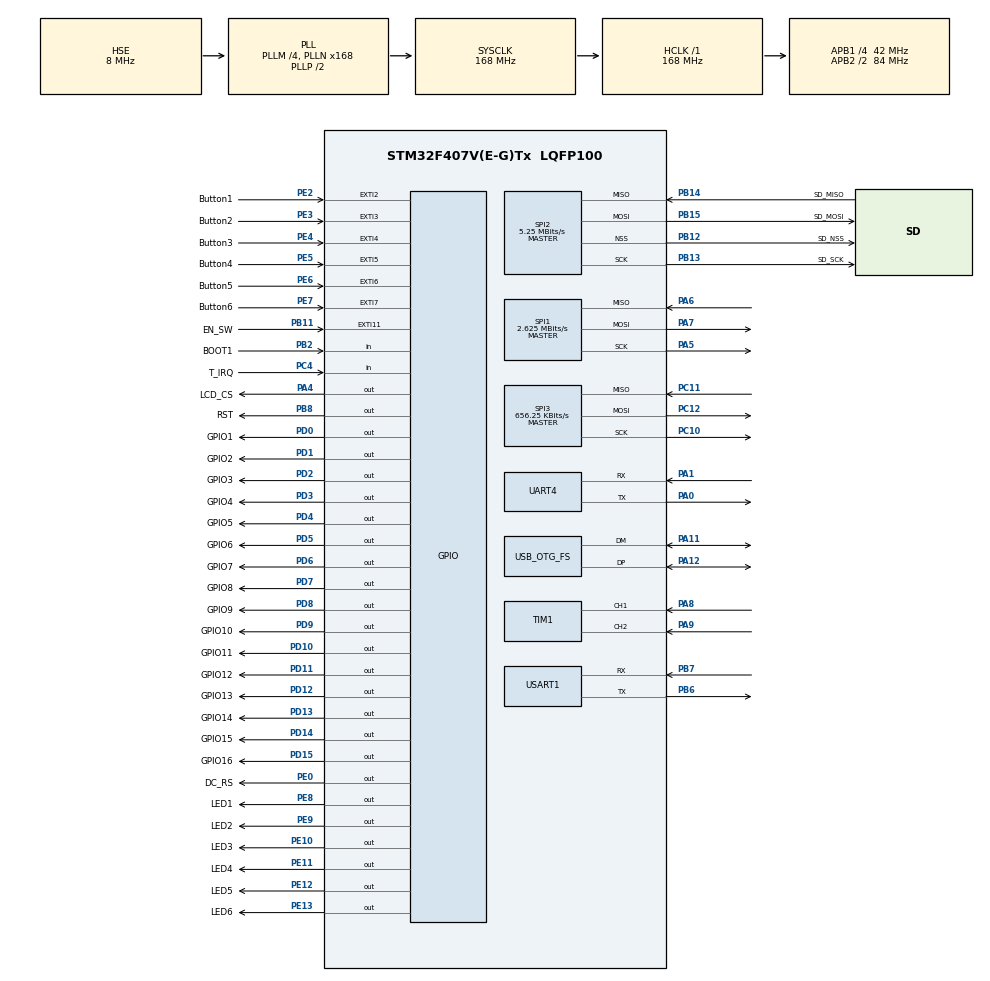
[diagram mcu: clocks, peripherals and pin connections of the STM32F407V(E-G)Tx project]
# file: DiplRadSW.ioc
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FREERTOS.HEAP_NUMBER=2
FREERTOS.Mutexes01=printMutex,Dynamic,NULL
FREERTOS.Queues01=mainQueue,128,uint8_t,0,Dynamic,NULL,NULL;encoderValue,16,int16_t,0,Dynamic,NULL,NULL
FREERTOS.Tasks01=defaultTask,24,128,StartDefaultTask,Default,NULL,Dynamic,NULL,NULL;LCDTaskHandle,24,128,LCDTask,Default,NULL,Dynamic,NULL,NULL;EncoderHandle,24,128,EncoderTask,Default,NULL,Dynamic,NULL,NULL;ButtonHandle,24,128,ButtonTask,Default,NULL,Dynamic,NULL,NULL
FREERTOS.configUSE_NEWLIB_REENTRANT=1
Mcu.Family=STM32F4
Mcu.Name=STM32F407V(E-G)Tx
Mcu.Package=LQFP100
NVIC.EXTI15_10_IRQn=true\:5\:0\:false\:false\:true\:true\:true\:true\:true
NVIC.EXTI2_IRQn=true\:5\:0\:false\:false\:true\:true\:true\:true\:true
NVIC.EXTI3_IRQn=true\:5\:0\:false\:false\:true\:true\:true\:true\:true
NVIC.EXTI4_IRQn=true\:5\:0\:false\:false\:true\:true\:true\:true\:true
NVIC.EXTI9_5_IRQn=true\:5\:0\:false\:false\:true\:true\:true\:true\:true
NVIC.FLASH_IRQn=true\:5\:0\:false\:false\:true\:true\:true\:true\:true
NVIC.OTG_FS_IRQn=true\:5\:0\:false\:false\:true\:true\:false\:true\:true
NVIC.PVD_IRQn=true\:5\:0\:false\:false\:true\:true\:true\:true\:true
NVIC.PriorityGroup=NVIC_PRIORITYGROUP_4
NVIC.RCC_IRQn=true\:5\:0\:false\:false\:true\:true\:true\:false\:true
NVIC.SPI1_IRQn=true\:5\:0\:false\:false\:true\:true\:true\:true\:true
NVIC.SPI2_IRQn=true\:5\:0\:false\:false\:true\:true\:true\:true\:true
NVIC.TIM1_BRK_TIM9_IRQn=true\:5\:0\:false\:false\:true\:true\:true\:true\:true
NVIC.TIM1_CC_IRQn=true\:5\:0\:false\:false\:true\:true\:true\:true\:true
NVIC.TIM1_TRG_COM_TIM11_IRQn=true\:5\:0\:false\:false\:true\:true\:true\:true\:true
NVIC.TIM1_UP_TIM10_IRQn=true\:5\:0\:false\:false\:true\:true\:true\:true\:true
NVIC.TIM2_IRQn=true\:5\:0\:false\:false\:true\:true\:true\:true\:true
NVIC.TIM3_IRQn=true\:15\:0\:false\:false\:true\:false\:false\:true\:true
NVIC.TimeBase=TIM3_IRQn
NVIC.TimeBaseIP=TIM3
NVIC.UART4_IRQn=true\:5\:0\:false\:false\:true\:true\:true\:true\:true
NVIC.USART1_IRQn=true\:5\:0\:false\:false\:true\:true\:true\:true\:true
PA0-WKUP.Mode=Asynchronous
PA0-WKUP.Signal=UART4_TX
PA1.Mode=Asynchronous
PA1.Signal=UART4_RX
PA11.Mode=Device_Only
PA11.Signal=USB_OTG_FS_DM
PA12.Mode=Device_Only
PA12.Signal=USB_OTG_FS_DP
PA13.Mode=Serial_Wire
PA13.Signal=SYS_JTMS-SWDIO
PA14.Mode=Serial_Wire
PA14.Signal=SYS_JTCK-SWCLK
PA4.GPIO_Label=LCD_CS
PA4.GPIO_PuPd=GPIO_PULLUP
PA4.PinState=GPIO_PIN_SET
PA4.Signal=GPIO_Output
PA5.Mode=Full_Duplex_Master
PA5.Signal=SPI1_SCK
PA6.Mode=Full_Duplex_Master
PA6.Signal=SPI1_MISO
PA7.Mode=Full_Duplex_Master
PA7.Signal=SPI1_MOSI
PA8.Signal=S_TIM1_CH1
PA9.Signal=S_TIM1_CH2
PB11.GPIO_Label=EN_SW
PB11.Signal=GPXTI11
PB12.GPIO_Label=SD_NSS
PB12.Mode=NSS_Signal_Hard_Output
PB12.Signal=SPI2_NSS
PB13.GPIO_Label=SD_SCK
PB13.Mode=Full_Duplex_Master
PB13.Signal=SPI2_SCK
PB14.GPIO_Label=SD_MISO
PB14.Mode=Full_Duplex_Master
PB14.Signal=SPI2_MISO
PB15.GPIO_Label=SD_MOSI
PB15.Mode=Full_Duplex_Master
PB15.Signal=SPI2_MOSI
PB2.GPIO_Label=BOOT1
PB2.Signal=GPIO_Input
PB6.Mode=Asynchronous
PB6.Signal=USART1_TX
PB7.Mode=Asynchronous
PB7.Signal=USART1_RX
PB8.GPIO_Label=RST
PB8.Signal=GPIO_Output
PC10.Mode=Full_Duplex_Master
PC10.Signal=SPI3_SCK
PC11.Mode=Full_Duplex_Master
PC11.Signal=SPI3_MISO
PC12.Mode=Full_Duplex_Master
PC12.Signal=SPI3_MOSI
PC14-OSC32_IN.Mode=LSE-External-Oscillator
PC14-OSC32_IN.Signal=RCC_OSC32_IN
PC15-OSC32_OUT.Mode=LSE-External-Oscillator
PC15-OSC32_OUT.Signal=RCC_OSC32_OUT
PC4.GPIO_Label=T_IRQ
PC4.Signal=GPIO_Input
PD0.GPIO_Label=GPIO1
PD0.Signal=GPIO_Output
PD1.GPIO_Label=GPIO2
PD1.Signal=GPIO_Output
PD10.GPIO_Label=GPIO11
PD10.Signal=GPIO_Output
PD11.GPIO_Label=GPIO12
PD11.Signal=GPIO_Output
PD12.GPIO_Label=GPIO13
PD12.Signal=GPIO_Output
PD13.GPIO_Label=GPIO14
PD13.Signal=GPIO_Output
PD14.GPIO_Label=GPIO15
PD14.Signal=GPIO_Output
PD15.GPIO_Label=GPIO16
PD15.Signal=GPIO_Output
PD2.GPIO_Label=GPIO3
PD2.Signal=GPIO_Output
PD3.GPIO_Label=GPIO4
PD3.Signal=GPIO_Output
PD4.GPIO_Label=GPIO5
PD4.Signal=GPIO_Output
PD5.GPIO_Label=GPIO6
PD5.Signal=GPIO_Output
PD6.GPIO_Label=GPIO7
PD6.Signal=GPIO_Output
PD7.GPIO_Label=GPIO8
PD7.Signal=GPIO_Output
PD8.GPIO_Label=GPIO9
PD8.Signal=GPIO_Output
PD9.GPIO_Label=GPIO10
PD9.Signal=GPIO_Output
PE0.GPIO_Label=DC_RS
PE0.Signal=GPIO_Output
PE10.GPIO_Label=LED3
PE10.Signal=GPIO_Output
PE11.GPIO_Label=LED4
PE11.Signal=GPIO_Output
PE12.GPIO_Label=LED5
PE12.Signal=GPIO_Output
PE13.GPIO_Label=LED6
PE13.Signal=GPIO_Output
PE2.GPIO_Label=Button1
PE2.Signal=GPXTI2
PE3.GPIO_Label=Button2
PE3.Signal=GPXTI3
PE4.GPIO_Label=Button3
PE4.Signal=GPXTI4
PE5.GPIO_Label=Button4
PE5.Signal=GPXTI5
PE6.GPIO_Label=Button5
PE6.Signal=GPXTI6
PE7.GPIO_Label=Button6
PE7.Signal=GPXTI7
PE8.GPIO_Label=LED1
PE8.Signal=GPIO_Output
PE9.GPIO_Label=LED2
PE9.Signal=GPIO_Output
PH0-OSC_IN.Mode=HSE-External-Oscillator
PH0-OSC_IN.Signal=RCC_OSC_IN
PH1-OSC_OUT.Mode=HSE-External-Oscillator
PH1-OSC_OUT.Signal=RCC_OSC_OUT
ProjectManager.HeapSize=0x2000
ProjectManager.StackSize=0x800
ProjectManager.TargetToolchain=Makefile
RCC.48MHZClocksFreq_Value=48000000
RCC.AHBFreq_Value=168000000
RCC.APB1CLKDivider=RCC_HCLK_DIV4
RCC.APB1Freq_Value=42000000
RCC.APB1TimFreq_Value=84000000
RCC.APB2CLKDivider=RCC_HCLK_DIV2
RCC.APB2Freq_Value=84000000
RCC.APB2TimFreq_Value=168000000
RCC.CortexFreq_Value=168000000
RCC.HCLKFreq_Value=168000000
RCC.HSE_VALUE=8000000
RCC.HSI_VALUE=16000000
RCC.PLLM=4
RCC.PLLN=168
RCC.PLLQ=7
RCC.SYSCLKFreq_VALUE=168000000
RCC.SYSCLKSource=RCC_SYSCLKSOURCE_PLLCLK
RCC.VCOOutputFreq_Value=336000000
SH.S_TIM1_CH1.0=TIM1_CH1,Encoder_Interface
SH.S_TIM1_CH2.0=TIM1_CH2,Encoder_Interface
SPI1.BaudRatePrescaler=SPI_BAUDRATEPRESCALER_32
SPI1.CRCCalculation=SPI_CRCCALCULATION_DISABLE
SPI1.CalculateBaudRate=2.625 MBits/s
SPI1.Direction=SPI_DIRECTION_2LINES
SPI1.Mode=SPI_MODE_MASTER
SPI1.VirtualType=VM_MASTER
SPI2.BaudRatePrescaler=SPI_BAUDRATEPRESCALER_8
SPI2.CalculateBaudRate=5.25 MBits/s
SPI2.Direction=SPI_DIRECTION_2LINES
SPI2.Mode=SPI_MODE_MASTER
SPI2.VirtualNSS=VM_NSSHARD
SPI2.VirtualType=VM_MASTER
SPI3.BaudRatePrescaler=SPI_BAUDRATEPRESCALER_64
SPI3.CalculateBaudRate=656.25 KBits/s
SPI3.Direction=SPI_DIRECTION_2LINES
SPI3.Mode=SPI_MODE_MASTER
SPI3.VirtualType=VM_MASTER
STMicroelectronics.X-CUBE-DISPLAY.3.0.0_IsPackSelfContextualization=true
TIM1.AutoReloadPreload=TIM_AUTORELOAD_PRELOAD_ENABLE
TIM1.EncoderMode=TIM_ENCODERMODE_TI12
TIM1.IC1Filter=10
TIM2.Period=100
TIM2.Prescaler=16000
UART4.VirtualMode=Asynchronous
USART1.VirtualMode=VM_ASYNC
USB_DEVICE.CLASS_NAME_FS=CUSTOM_HID
USB_DEVICE.PRODUCT_STRING_CUSTOMHID_FS=Radio Interface
USB_DEVICE.VirtualMode-CUSTOM_HID_FS=CustomHid
USB_DEVICE.VirtualModeFS=Custom_Hid_FS
USB_OTG_FS.VirtualMode=Device_Only
VP_FREERTOS_VS_CMSIS_V2.Mode=CMSIS_V2
VP_SYS_VS_tim3.Mode=TIM3
VP_TIM2_VS_ClockSourceINT.Mode=Internal
VP_USB_DEVICE_VS_USB_DEVICE_CUSTOM_HID_FS.Mode=CUSTOM_HID_FS
board=custom

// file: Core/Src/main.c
/* USER CODE BEGIN Header */
/**
  ******************************************************************************
  * @file           : main.c
  * @brief          : Main program body
  ******************************************************************************
  * @attention
  *
  * Copyright (c) 2024 STMicroelectronics.
  * All rights reserved.
  *
  * This software is licensed under terms that can be found in the LICENSE file
  * in the root directory of this software component.
  * If no LICENSE file comes with this software, it is provided AS-IS.
  *
  ******************************************************************************
  */
/* USER CODE END Header */
#include "main.h"
#include "cmsis_os.h"
#include "spi.h"
#include "tim.h"
#include "usart.h"
#include "usb_device.h"
#include "gpio.h"

/* USER CODE BEGIN Includes */
#include "FreeRTOS.h"
#include "FreeRTOSConfig.h"
#include "cmsis_os2.h"
#include "task.h"
#include "usart.h"
#include "usb_device.h"
#include "stdbool.h"
/* USER CODE END Includes */

/* USER CODE BEGIN PV */
extern UART_HandleTypeDef huart4;
extern UART_HandleTypeDef huart1;
extern bool state;
/* USER CODE END PV */

void SystemClock_Config(void);
void MX_FREERTOS_Init(void);

int main(void)
{

  /* MCU Configuration--------------------------------------------------------*/

  /* Reset of all peripherals, Initializes the Flash interface and the Systick. */
  HAL_Init();

  /* Configure the system clock */
  SystemClock_Config();

  /* Initialize all configured peripherals */
  MX_GPIO_Init();
  MX_SPI2_Init();
  MX_TIM1_Init();
  MX_UART4_Init();
  MX_USART1_UART_Init();
  MX_SPI3_Init();
  MX_TIM2_Init();
  MX_SPI1_Init();
  /* USER CODE BEGIN 2 */
  MX_USB_DEVICE_Init();
  /* USER CODE END 2 */

  /* Init scheduler */
  osKernelInitialize();

  /* Call init function for freertos objects (in cmsis_os2.c) */
  MX_FREERTOS_Init();

  /* Start scheduler */
  osKernelStart();

  /* We should never get here as control is now taken by the scheduler */

  /* Infinite loop */
  while (1)
  {

  }
}

void SystemClock_Config(void)
{
  RCC_OscInitTypeDef RCC_OscInitStruct = {0};
  RCC_ClkInitTypeDef RCC_ClkInitStruct = {0};

  /** Configure the main internal regulator output voltage
  */
  __HAL_RCC_PWR_CLK_ENABLE();
  __HAL_PWR_VOLTAGESCALING_CONFIG(PWR_REGULATOR_VOLTAGE_SCALE1);

  /** Initializes the RCC Oscillators according to the specified parameters
  * in the RCC_OscInitTypeDef structure.
  */
  RCC_OscInitStruct.OscillatorType = RCC_OSCILLATORTYPE_HSE;
  RCC_OscInitStruct.HSEState = RCC_HSE_ON;
  RCC_OscInitStruct.PLL.PLLState = RCC_PLL_ON;
  RCC_OscInitStruct.PLL.PLLSource = RCC_PLLSOURCE_HSE;
  RCC_OscInitStruct.PLL.PLLM = 4;
  RCC_OscInitStruct.PLL.PLLN = 168;
  RCC_OscInitStruct.PLL.PLLP = RCC_PLLP_DIV2;
  RCC_OscInitStruct.PLL.PLLQ = 7;
  if (HAL_RCC_OscConfig(&RCC_OscInitStruct) != HAL_OK)
  {
    Error_Handler();
  }

  /** Initializes the CPU, AHB and APB buses clocks
  */
  RCC_ClkInitStruct.ClockType = RCC_CLOCKTYPE_HCLK|RCC_CLOCKTYPE_SYSCLK
                              |RCC_CLOCKTYPE_PCLK1|RCC_CLOCKTYPE_PCLK2;
  RCC_ClkInitStruct.SYSCLKSource = RCC_SYSCLKSOURCE_PLLCLK;
  RCC_ClkInitStruct.AHBCLKDivider = RCC_SYSCLK_DIV1;
  RCC_ClkInitStruct.APB1CLKDivider = RCC_HCLK_DIV4;
  RCC_ClkInitStruct.APB2CLKDivider = RCC_HCLK_DIV2;

  if (HAL_RCC_ClockConfig(&RCC_ClkInitStruct, FLASH_LATENCY_5) != HAL_OK)
  {
    Error_Handler();
  }
}

void HAL_TIM_PeriodElapsedCallback(TIM_HandleTypeDef *htim)
{
  if (htim->Instance == TIM3) {
    HAL_IncTick();
  }
  /* USER CODE BEGIN Callback 1 */
	if(HAL_GPIO_ReadPin(Button1_GPIO_Port, Button1_Pin) == GPIO_PIN_RESET){
		state = true;
		HAL_TIM_Base_Stop_IT(&htim2);
	}
	if(HAL_GPIO_ReadPin(Button2_GPIO_Port, Button2_Pin) == GPIO_PIN_RESET){
		state = true;
		HAL_TIM_Base_Stop_IT(&htim2);
	}
	if(HAL_GPIO_ReadPin(Button3_GPIO_Port, Button3_Pin) == GPIO_PIN_RESET){
		state = true;
		HAL_TIM_Base_Stop_IT(&htim2);
	}
	if(HAL_GPIO_ReadPin(Button4_GPIO_Port, Button4_Pin) == GPIO_PIN_RESET){
		state = true;
		HAL_TIM_Base_Stop_IT(&htim2);
	}
	if(HAL_GPIO_ReadPin(Button5_GPIO_Port, Button5_Pin) == GPIO_PIN_RESET){
		state = true;
		HAL_TIM_Base_Stop_IT(&htim2);
	}
	if(HAL_GPIO_ReadPin(Button6_GPIO_Port, Button6_Pin) == GPIO_PIN_RESET){
		state = true;
		HAL_TIM_Base_Stop_IT(&htim2);
	}
  /* USER CODE END Callback 1 */
}

void Error_Handler(void)
{
  __disable_irq();
  while (1)
  {
  }
}

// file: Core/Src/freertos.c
/* USER CODE BEGIN Header */
/**
  ******************************************************************************
  * File Name          : freertos.c
  * Description        : Code for freertos applications
  ******************************************************************************
  * @attention
  *
  * Copyright (c) 2024 STMicroelectronics.
  * All rights reserved.
  *
  * This software is licensed under terms that can be found in the LICENSE file
  * in the root directory of this software component.
  * If no LICENSE file comes with this software, it is provided AS-IS.
  *
  ******************************************************************************
  */
/* USER CODE END Header */

#include "FreeRTOS.h"
#include "task.h"
#include "main.h"
#include "cmsis_os.h"

/* USER CODE BEGIN Includes */
#include "encoder.h"
#include "queue.h"
#include "stm32f407xx.h"
#include "gpio.h"
#include "usart.h"
#include "message.h"
#include "limits.h"
#include "Touch_screen.h"
#include "button.h"
#include "usb_device.h"
/* USER CODE END Includes */

/* USER CODE BEGIN Variables */
extern UART_HandleTypeDef huart4;
extern UART_HandleTypeDef huart1;

extern TIM_HandleTypeDef htim1;
static encoderHandle encoder = {0};

extern SPI_HandleTypeDef hspi1;
extern SPI_HandleTypeDef hspi3;

extern EncoderValue encoderValue;

/* USER CODE END Variables */
/* Definitions for defaultTask */
osThreadId_t defaultTaskHandle;
const osThreadAttr_t defaultTask_attributes = {
  .name = "defaultTask",
  .stack_size = 128 * 4,
  .priority = (osPriority_t) osPriorityNormal,
};
/* Definitions for LCDTaskHandle */
osThreadId_t LCDTaskHandleHandle;
const osThreadAttr_t LCDTaskHandle_attributes = {
  .name = "LCDTaskHandle",
  .stack_size = 128 * 4,
  .priority = (osPriority_t) osPriorityNormal,
};
/* Definitions for EncoderHandle */
osThreadId_t EncoderHandleHandle;
const osThreadAttr_t EncoderHandle_attributes = {
  .name = "EncoderHandle",
  .stack_size = 128 * 4,
  .priority = (osPriority_t) osPriorityNormal,
};
/* Definitions for ButtonHandle */
osThreadId_t ButtonHandleHandle;
const osThreadAttr_t ButtonHandle_attributes = {
  .name = "ButtonHandle",
  .stack_size = 128 * 4,
  .priority = (osPriority_t) osPriorityNormal,
};
/* Definitions for mainQueue */
osMessageQueueId_t mainQueueHandle;
const osMessageQueueAttr_t mainQueue_attributes = {
  .name = "mainQueue"
};
/* Definitions for encoderValue */
osMessageQueueId_t encoderValueHandle;
const osMessageQueueAttr_t encoderValue_attributes = {
  .name = "encoderValue"
};
/* Definitions for printMutex */
osMutexId_t printMutexHandle;
const osMutexAttr_t printMutex_attributes = {
  .name = "printMutex"
};

void StartDefaultTask(void *argument);
void LCDTask(void *argument);
void EncoderTask(void *argument);
void ButtonTask(void *argument);

extern void MX_USB_DEVICE_Init(void);
void MX_FREERTOS_Init(void); /* (MISRA C 2004 rule 8.1) */

void MX_FREERTOS_Init(void) {
  /* Create the mutex(es) */
  /* creation of printMutex */
  printMutexHandle = osMutexNew(&printMutex_attributes);

  /* Create the queue(s) */
  /* creation of mainQueue */
  mainQueueHandle = osMessageQueueNew (128, sizeof(uint8_t), &mainQueue_attributes);

  /* creation of encoderValue */
  encoderValueHandle = osMessageQueueNew (16, sizeof(int16_t), &encoderValue_attributes);

  /* Create the thread(s) */
  /* creation of defaultTask */
  defaultTaskHandle = osThreadNew(StartDefaultTask, NULL, &defaultTask_attributes);

  /* creation of LCDTaskHandle */
  LCDTaskHandleHandle = osThreadNew(LCDTask, NULL, &LCDTaskHandle_attributes);

  /* creation of EncoderHandle */
  EncoderHandleHandle = osThreadNew(EncoderTask, NULL, &EncoderHandle_attributes);

  /* creation of ButtonHandle */
  ButtonHandleHandle = osThreadNew(ButtonTask, NULL, &ButtonHandle_attributes);

}

void StartDefaultTask(void *argument)
{
  /* init code for USB_DEVICE */
  MX_USB_DEVICE_Init();
  encoderValue.value[1] = 1;
  /* USER CODE BEGIN StartDefaultTask */
  /* Infinite loop */
  for(;;)
  {
    /* USER CODE END WHILE */
    osDelay(100);
  }
  /* USER CODE END StartDefaultTask */
}

void LCDTask(void *argument)
{
  /* USER CODE BEGIN LCDTask */
  STM32_PLC_LCD(&hspi1, LCD_CS_GPIO_Port, LCD_CS_Pin, DC_RS_GPIO_Port, DC_RS_Pin, RST_GPIO_Port, RST_Pin);
  /* Infinite loop */
  encoderValue.value[1] = 1;
  uint8_t frame_id = 0;
  STM32_PLC_LCD_Show_Main_Frame(&frame_id);

  for(;;)
  {
    osDelay(1);
    STM32_PLC_LCD_Call_Main_Logic(&frame_id);
    osDelay(10);
  }
  /* USER CODE END LCDTask */
}

void EncoderTask(void *argument)
{
  /* USER CODE BEGIN EncoderTask */
  /* Infinite loop */
  Encoder_init(&encoder, &htim1, ENCODER_PULSES_PER_ROTATION);
float speed = 1;
int difference = 1;
char buffer[100];
int firstValue = 0;

for (;;) {
    Encoder_count(&encoder);
    speed = Encoder_getSpeed(&encoder) / ENCODER_PULSES_PER_ROTATION; // Unit: RPM
    difference = Encoder_getDifference(&encoder);

    // Check for speed and adjust difference accordingly
    if (speed < 0.001) { // Adjust threshold for near-zero speed
      difference = abs(difference);  // Make difference negative for low speed
    } else {
      difference = -abs(difference);  // Make difference positive for non-zero speed
    }

    // Check for change in difference and print information
    if (difference != firstValue) {
      if(xQueueSend(encoderValueHandle, &difference, 0) != pdPASS) {
        printSerial("Queue positive full\r\n");
      }
      sprintf(buffer, "Encoder difference is %d\r\n", difference);
      printSerial(buffer);
    }

    firstValue = difference;
    osDelay(10);
  }
  /* USER CODE END EncoderTask */
}

void ButtonTask(void *argument)
{
  /* USER CODE BEGIN ButtonTask */
  uint32_t uValue;
  /* Infinite loop */
  for(;;)
  {
        // Wait for a notification and get the notification value
    if(xTaskNotifyWait(0, ULONG_MAX, &uValue, 100) == pdPASS)
    {
      printSerial("Button %d IRQ\r\n", uValue);
      ButtonProcess(uValue);
      //in buttonHandle also set some thing to have it displaied on the LCD
    }
    osDelay(50);
  }
  /* USER CODE END ButtonTask */
}
